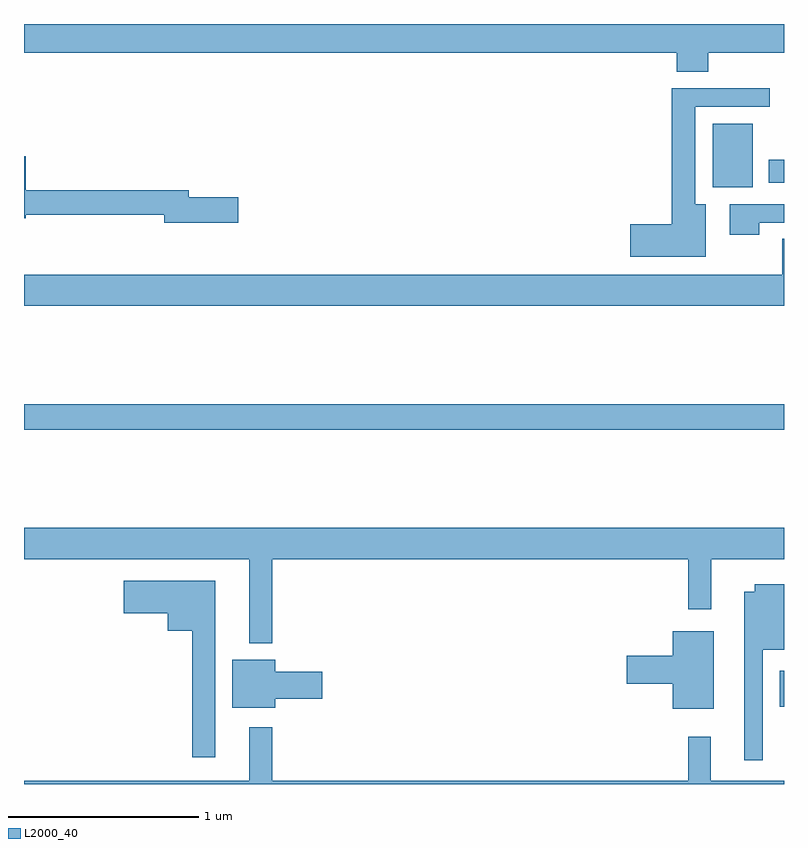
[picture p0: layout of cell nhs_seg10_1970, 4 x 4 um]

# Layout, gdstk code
import gdstk
lib = gdstk.Library(unit=1e-6, precision=1e-09)
def R(c, l, rs):  # rectangles x0, y0, x1, y1
    for r in rs: c.add(gdstk.rectangle(r[:2], r[2:], *l))
def P(c, l, *ps):  # polygons
    for p in ps: c.add(gdstk.Polygon(p, *l))
L2000_40 = (2000, 40)

nhs_seg10_1970 = lib.new_cell('nhs_seg10_1970')
R(nhs_seg10_1970, L2000_40, [(218.978,1264.907,219,1265.095), (215,1266.364,219,1266.5), (218.624,1267.64,218.836,1267.975), (218.921,1267.664,219,1267.786)])
P(nhs_seg10_1970, L2000_40, [(218.6,1268.348),(219,1268.348),(219,1268.5),(215,1268.5),(215,1268.348),(218.435,1268.348),(218.435,1268.249),(218.6,1268.249)],
  [(218.587,1267.552),(218.533,1267.552),(218.533,1268.064),(218.926,1268.064),(218.926,1268.162),(218.408,1268.162),(218.408,1267.445),(218.19,1267.445),(218.19,1267.274),(218.587,1267.274)],
  [(216.127,1267.589),(215.866,1267.589),(215.866,1267.625),(215.009,1267.625),(215.009,1267.804),(215,1267.804),(215,1267.478),(215.009,1267.478),(215.009,1267.497),(215.738,1267.497),(215.738,1267.454),(216.127,1267.454)],
  [(218.871,1267.455),(219,1267.455),(219,1267.551),(218.715,1267.551),(218.715,1267.392),(218.871,1267.392)],
  [(219,1267.37),(218.992,1267.37),(218.992,1267.18),(215,1267.18),(215,1267.016),(219,1267.016)],
  [(216.307,1265.684),(218.497,1265.684),(218.497,1265.421),(218.616,1265.421),(218.616,1265.684),(219,1265.684),(219,1265.848),(215,1265.848),(215,1265.684),(216.185,1265.684),(216.185,1265.24),(216.307,1265.24)],
  [(216.007,1265.569),(215.526,1265.569),(215.526,1265.399),(215.756,1265.399),(215.756,1265.306),(215.886,1265.306),(215.886,1264.641),(216.007,1264.641)],
  [(218.889,1265.207),(219,1265.207),(219,1265.551),(218.846,1265.551),(218.846,1265.512),(218.792,1265.512),(218.792,1264.626),(218.889,1264.626)],
  [(218.629,1265.305),(218.414,1265.305),(218.414,1265.174),(218.172,1265.174),(218.172,1265.027),(218.414,1265.027),(218.414,1264.895),(218.629,1264.895)],
  [(216.322,1264.948),(216.571,1264.948),(216.571,1265.09),(216.322,1265.09),(216.322,1265.155),(216.095,1265.155),(216.095,1264.901),(216.322,1264.901)],
  [(219,1264.516),(218.615,1264.516),(218.615,1264.75),(218.497,1264.75),(218.497,1264.516),(216.307,1264.516),(216.307,1264.798),(216.185,1264.798),(216.185,1264.516),(215,1264.516),(215,1264.5),(219,1264.5)])

lib.write_gds('nhs_seg10_1970.gds')
